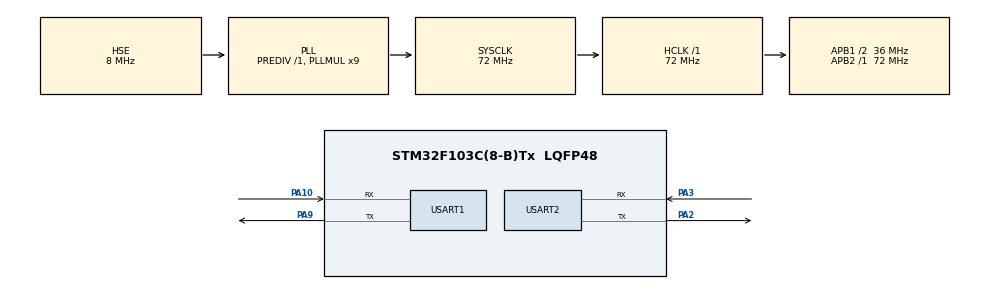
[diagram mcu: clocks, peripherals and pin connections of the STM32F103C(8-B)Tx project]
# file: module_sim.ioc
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Mcu.Family=STM32F1
Mcu.Name=STM32F103C(8-B)Tx
Mcu.Package=LQFP48
NVIC.PriorityGroup=NVIC_PRIORITYGROUP_4
NVIC.USART1_IRQn=true\:0\:0\:false\:false\:true\:true\:true\:true
NVIC.USART2_IRQn=true\:0\:0\:false\:false\:true\:true\:true\:true
PA10.Mode=Asynchronous
PA10.Signal=USART1_RX
PA13.Mode=Serial_Wire
PA13.Signal=SYS_JTMS-SWDIO
PA14.Mode=Serial_Wire
PA14.Signal=SYS_JTCK-SWCLK
PA2.Mode=Asynchronous
PA2.Signal=USART2_TX
PA3.Mode=Asynchronous
PA3.Signal=USART2_RX
PA9.Mode=Asynchronous
PA9.Signal=USART1_TX
PD0-OSC_IN.Mode=HSE-External-Oscillator
PD0-OSC_IN.Signal=RCC_OSC_IN
PD1-OSC_OUT.Mode=HSE-External-Oscillator
PD1-OSC_OUT.Signal=RCC_OSC_OUT
ProjectManager.HeapSize=0x200
ProjectManager.StackSize=0x400
ProjectManager.TargetToolchain=STM32CubeIDE
RCC.AHBFreq_Value=72000000
RCC.APB1CLKDivider=RCC_HCLK_DIV2
RCC.APB1Freq_Value=36000000
RCC.APB1TimFreq_Value=72000000
RCC.APB2Freq_Value=72000000
RCC.APB2TimFreq_Value=72000000
RCC.HCLKFreq_Value=72000000
RCC.PLLMUL=RCC_PLL_MUL9
RCC.PLLSourceVirtual=RCC_PLLSOURCE_HSE
RCC.SYSCLKFreq_VALUE=72000000
RCC.SYSCLKSource=RCC_SYSCLKSOURCE_PLLCLK
RCC.USBFreq_Value=72000000
USART1.VirtualMode=VM_ASYNC
USART2.VirtualMode=VM_ASYNC
board=custom

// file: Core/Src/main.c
/* USER CODE BEGIN Header */
/**
  ******************************************************************************
  * @file           : main.c
  * @brief          : Main program body - He thong SIM800L / SIM Module tren STM32
  *                   - Tu dong xoa sach bo nho SIM khi khoi dong (AT+CMGD=1,4)
  *                   - Tu dong gui tin nhan khi Run
  *                   - Tu dong doc va xoa tin nhan ngay sau khi nhan tin (+CMTI)
  *                   - Toc do Baud: 115200 bps cho ca PuTTY va SIM
  ******************************************************************************
  * @attention
  *
  * Copyright (c) 2026 STMicroelectronics.
  * All rights reserved.
  *
  * This software is licensed under terms that can be found in the LICENSE file
  * in the root directory of this software component.
  * If no LICENSE file comes with this software, it is provided AS-IS.
  *
  ******************************************************************************
  */
/* USER CODE END Header */
#include "main.h"
#include "usart.h"
#include "gpio.h"

/* USER CODE BEGIN Includes */
#include <stdio.h>
#include <string.h>
#include <stdlib.h>
/* USER CODE END Includes */

/* USER CODE BEGIN PV */
/* ==============================================================================
 * THÔNG SỐ CẤU HÌNH GỬI TIN NHẮN TỰ ĐỘNG KHI RUN
 * ============================================================================== */
#define SIM_PHONE_NUMBER    "0899244478"         /* <-- Số điện thoại người nhận */
#define SIM_SMS_MESSAGE     "dcm m minh"  /* <-- Nội dung tin nhắn không dấu */
/* ============================================================================== */

#define SIM_RX_BUFFER_SIZE  512
#define RX_BUFFER_LEN       256

/* Biến nhận 1 byte ngắt UART */
uint8_t rx_byte_pc;
uint8_t rx_byte_sim;

/* Bộ đệm chuỗi tổng quát để kiểm tra phản hồi AT */
uint8_t sim_rx_buffer[SIM_RX_BUFFER_SIZE];
volatile uint16_t sim_rx_idx = 0;

/* Bộ đệm nhận từng dòng để phân tích sự kiện +CMTI */
char rx_line_sim[RX_BUFFER_LEN];
volatile uint16_t rx_idx = 0;

/* Cờ báo hiệu có sự kiện tin nhắn mới từ ngắt đẩy ra vòng lặp while(1) */
volatile uint8_t flag_new_sms = 0;
volatile int target_sms_index = -1;
/* USER CODE END PV */

void SystemClock_Config(void);
/* USER CODE BEGIN PFP */
void PC_Print(const char *msg);
void PC_Println(const char *msg);
void SIM800_SendCmd(const char *cmd);
void SIM_ParseLine(char *line);
uint8_t SIM_Send_Command(const char *cmd, const char *expected_reply, uint32_t timeout_ms);
uint8_t SIM_Send_SMS_Core(const char *number, const char *msg);
uint8_t SIM_AutoSend_SMS(const char *number, const char *msg);
/* USER CODE END PFP */

/* USER CODE BEGIN 0 */
/**
  * @brief Gửi chuỗi lệnh UART sang Module SIM
  */
void SIM800_SendCmd(const char *cmd)
{
    HAL_UART_Transmit(&huart2, (uint8_t *)cmd, strlen(cmd), 1000);
}

/**
  * @brief Xử lý từng dòng phản hồi từ Module SIM để bắt sự kiện +CMTI
  */
void SIM_ParseLine(char *line)
{
    /* Bắt sự kiện: +CMTI: "SM", <index> hoặc +CMTI: "ME", <index> */
    char *cmti = strstr(line, "+CMTI:");
    if (cmti != NULL)
    {
        char *comma = strchr(cmti, ',');
        if (comma != NULL)
        {
            int idx = atoi(comma + 1);
            if (idx > 0)
            {
                target_sms_index = idx;
                flag_new_sms = 1; /* Bật cờ để vòng while(1) xử lý đọc & xóa */
            }
        }
    }
}
/* USER CODE END 0 */

int main(void)
{

  /* MCU Configuration--------------------------------------------------------*/

  /* Reset of all peripherals, Initializes the Flash interface and the Systick. */
  HAL_Init();

  /* Configure the system clock */
  SystemClock_Config();

  /* Initialize all configured peripherals */
  MX_GPIO_Init();
  MX_USART1_UART_Init();
  MX_USART2_UART_Init();
  /* USER CODE BEGIN 2 */
  /* Bật ngắt nhận byte đầu tiên cho cả 2 cổng UART */
  HAL_UART_Receive_IT(&huart1, &rx_byte_pc, 1);
  HAL_UART_Receive_IT(&huart2, &rx_byte_sim, 1);

  /* Thông báo khởi động lên màn hình PuTTY */
  PC_Println("\r\n=======================================================================");
  PC_Println("         STM32F103C8T6 - HE THONG SMS SIM800L (BAUDRATE: 115200)       ");
  PC_Println("=======================================================================");
  PC_Println("Dang khoi dong, vui long cho 3 giay de SIM on dinh nguon...");
  HAL_Delay(3000);

  /* 1. Kiểm tra kết nối SIM ở 115200 bps */
  PC_Print("[1/5] Kiem tra ket noi SIM (AT @ 115200 bps)... ");
  uint8_t at_ok = 0;
  for (int retry = 0; retry < 5; retry++)
  {
      if (SIM_Send_Command("AT\r\n", "OK", 1000))
      {
          at_ok = 1;
          break;
      }
      HAL_Delay(500);
  }
  if (!at_ok)
  {
      PC_Println("THAT BAI! (Module SIM khong phan hoi AT)");
  }
  else
  {
      PC_Println("OK!");
  }

  /* 2. Cấu hình cơ bản: Tắt echo, bật báo lỗi chi tiết, bật Text Mode, bảng mã GSM */
  PC_Print("[2/5] Cau hinh Text Mode & Parameters... ");
  SIM_Send_Command("ATE0\r\n", "OK", 1000);
  SIM_Send_Command("AT+CMEE=1\r\n", "OK", 1000);
  SIM_Send_Command("AT+CMGF=1\r\n", "OK", 1000);
  SIM_Send_Command("AT+CSCS=\"GSM\"\r\n", "OK", 1000);
  PC_Println("OK!");

  /* 3. DỌN SẠCH TOÀN BỘ KHAY CHỨA TIN NHẮN TRÊN SIM (CHỐNG TRÀN BỘ NHỚ +SMS FULL) */
  PC_Print("[3/5] Don sach toan bo tin nhan cu (AT+CMGD=1,4)... ");
  SIM_Send_Command("AT+CMGD=1,4\r\n", "OK", 3000);
  PC_Println("DA XOA SACH! (Bo nho SIM da duoc giai phong hoan toan)");

  /* 4. Kiểm tra SIM & Trạng thái vào mạng */
  PC_Println("[4/5] Kiem tra the SIM & Mang di dong:");
  PC_Print("   - The SIM (AT+CPIN?)... ");
  if (SIM_Send_Command("AT+CPIN?\r\n", "READY", 3000))
  {
      PC_Println("READY!");
  }
  else
  {
      PC_Println("CHUA SAN SANG!");
  }

  PC_Print("   - Song mang (AT+CREG?)... ");
  uint8_t net_ok = 0;
  for (int i = 0; i < 15; i++)
  {
      sim_rx_idx = 0;
      memset((void *)sim_rx_buffer, 0, SIM_RX_BUFFER_SIZE);
      HAL_UART_Transmit(&huart2, (uint8_t *)"AT+CREG?\r\n", 10, 1000);
      HAL_Delay(1000);
      if (strstr((char *)sim_rx_buffer, ",1") != NULL || strstr((char *)sim_rx_buffer, ",5") != NULL)
      {
          net_ok = 1;
          break;
      }
  }
  if (net_ok)
  {
      PC_Println("DA VAO MANG!");
  }
  else
  {
      PC_Println("CHUA VAO MANG!");
  }

  /* 5. TỰ ĐỘNG GỬI TIN NHẮN KHỞI ĐỘNG */
  PC_Println("[5/5] Tien hanh gui tin nhan khoi dong:");
  SIM_AutoSend_SMS(SIM_PHONE_NUMBER, SIM_SMS_MESSAGE);

  PC_Println("\r\n-----------------------------------------------------------------------");
  PC_Println("  HE THONG DA SAN SANG: DANG LANG NGHE TIN NHAN DEN (TU DONG DOC & XOA)");
  PC_Println("  Ban co the go lenh AT truc tiep tren PuTTY bat ky luc nao.");
  PC_Println("-----------------------------------------------------------------------\r\n");
  /* USER CODE END 2 */

  /* Infinite loop */
  while (1)
  {

    /* USER CODE BEGIN 3 */
    /* =========================================================================
     * LUỒNG SỰ KIỆN: TỰ ĐỘNG ĐỌC VÀ XÓA NGAY KHI CÓ TIN NHẮN TỚI
     * ========================================================================= */
    if (flag_new_sms && target_sms_index > 0)
    {
        int idx = target_sms_index;
        char cmd_buf[64];

        PC_Println("\r\n=======================================================");
        snprintf(cmd_buf, sizeof(cmd_buf), ">>> PHAT HIEN TIN NHAN MOI O O NHO: %d <<<", idx);
        PC_Println(cmd_buf);
        PC_Println("=======================================================");

        /* 1. Gửi lệnh đọc nội dung tin nhắn */
        PC_Println("-> Dang doc noi dung tin nhan (AT+CMGR):");
        snprintf(cmd_buf, sizeof(cmd_buf), "AT+CMGR=%d\r\n", idx);
        SIM800_SendCmd(cmd_buf);
        HAL_Delay(1000); /* Đợi module trả nội dung tin nhắn về và in lên PuTTY */

        /* 2. Gửi lệnh xóa ngay ô nhớ vừa đọc để giải phóng bộ nhớ */
        PC_Println("\r\n-> Dang xoa tin nhan de giai phong bo nho (AT+CMGD)...");
        snprintf(cmd_buf, sizeof(cmd_buf), "AT+CMGD=%d\r\n", idx);
        SIM800_SendCmd(cmd_buf);
        HAL_Delay(500);

        PC_Println("-> XAC NHAN: Da xoa o nho, khay SIM luon trong (0 tin nhan).");
        PC_Println("=======================================================\r\n");

        /* Reset cờ trạng thái */
        flag_new_sms = 0;
        target_sms_index = -1;
    }

    HAL_Delay(50);
  }
  /* USER CODE END 3 */
}

void SystemClock_Config(void)
{
  RCC_OscInitTypeDef RCC_OscInitStruct = {0};
  RCC_ClkInitTypeDef RCC_ClkInitStruct = {0};

  /** Initializes the RCC Oscillators according to the specified parameters
  * in the RCC_OscInitTypeDef structure.
  */
  RCC_OscInitStruct.OscillatorType = RCC_OSCILLATORTYPE_HSE;
  RCC_OscInitStruct.HSEState = RCC_HSE_ON;
  RCC_OscInitStruct.HSEPredivValue = RCC_HSE_PREDIV_DIV1;
  RCC_OscInitStruct.HSIState = RCC_HSI_ON;
  RCC_OscInitStruct.PLL.PLLState = RCC_PLL_ON;
  RCC_OscInitStruct.PLL.PLLSource = RCC_PLLSOURCE_HSE;
  RCC_OscInitStruct.PLL.PLLMUL = RCC_PLL_MUL9;
  if (HAL_RCC_OscConfig(&RCC_OscInitStruct) != HAL_OK)
  {
    Error_Handler();
  }

  /** Initializes the CPU, AHB and APB buses clocks
  */
  RCC_ClkInitStruct.ClockType = RCC_CLOCKTYPE_HCLK|RCC_CLOCKTYPE_SYSCLK
                              |RCC_CLOCKTYPE_PCLK1|RCC_CLOCKTYPE_PCLK2;
  RCC_ClkInitStruct.SYSCLKSource = RCC_SYSCLKSOURCE_PLLCLK;
  RCC_ClkInitStruct.AHBCLKDivider = RCC_SYSCLK_DIV1;
  RCC_ClkInitStruct.APB1CLKDivider = RCC_HCLK_DIV2;
  RCC_ClkInitStruct.APB2CLKDivider = RCC_HCLK_DIV1;

  if (HAL_RCC_ClockConfig(&RCC_ClkInitStruct, FLASH_LATENCY_2) != HAL_OK)
  {
    Error_Handler();
  }
}

/* USER CODE BEGIN 4 */
/**
  * @brief In chuỗi thông báo lên máy tính qua USART1
  */
void PC_Print(const char *msg)
{
    HAL_UART_Transmit(&huart1, (uint8_t *)msg, strlen(msg), 1000);
}

/**
  * @brief In chuỗi thông báo kèm xuống dòng lên máy tính qua USART1
  */
void PC_Println(const char *msg)
{
    HAL_UART_Transmit(&huart1, (uint8_t *)msg, strlen(msg), 1000);
    HAL_UART_Transmit(&huart1, (uint8_t *)"\r\n", 2, 1000);
}

/**
  * @brief Gửi lệnh AT xuống module SIM và chờ phản hồi mong đợi
  */
uint8_t SIM_Send_Command(const char *cmd, const char *expected_reply, uint32_t timeout_ms)
{
    sim_rx_idx = 0;
    memset((void *)sim_rx_buffer, 0, SIM_RX_BUFFER_SIZE);

    HAL_UART_Transmit(&huart2, (uint8_t *)cmd, strlen(cmd), 1000);

    uint32_t tickstart = HAL_GetTick();
    while ((HAL_GetTick() - tickstart) < timeout_ms)
    {
        if (strstr((char *)sim_rx_buffer, expected_reply) != NULL)
        {
            return 1;
        }
        if (strstr((char *)sim_rx_buffer, "ERROR") != NULL)
        {
            return 0;
        }
        HAL_Delay(10);
    }
    return 0;
}

/**
  * @brief Thực hiện 4 bước gửi tin nhắn SMS tới 1 số điện thoại cụ thể
  */
uint8_t SIM_Send_SMS_Core(const char *number, const char *msg)
{
    char cmd[64];

    /* 1. Đảm bảo ở chế độ Text Mode */
    if (!SIM_Send_Command("AT+CMGF=1\r\n", "OK", 2000))
    {
        PC_Println("   -> [Loi] Khong the bat Text Mode!");
        return 0;
    }

    /* 2. Cấu hình bảng mã ký tự GSM */
    SIM_Send_Command("AT+CSCS=\"GSM\"\r\n", "OK", 2000);

    /* 3. Phát lệnh gửi tới số điện thoại, kết thúc bằng \r */
    snprintf(cmd, sizeof(cmd), "AT+CMGS=\"%s\"\r", number);
    PC_Print("   -> Dang ket noi toi so: ");
    PC_Println(number);

    sim_rx_idx = 0;
    memset((void *)sim_rx_buffer, 0, SIM_RX_BUFFER_SIZE);
    HAL_UART_Transmit(&huart2, (uint8_t *)cmd, strlen(cmd), 1000);

    /* Chờ ký tự prompt '>' từ module SIM */
    uint32_t t_prompt = HAL_GetTick();
    uint8_t got_prompt = 0;
    while ((HAL_GetTick() - t_prompt) < 5000)
    {
        if (strchr((char *)sim_rx_buffer, '>') != NULL)
        {
            got_prompt = 1;
            break;
        }
        if (strstr((char *)sim_rx_buffer, "ERROR") != NULL)
        {
            break;
        }
        HAL_Delay(10);
    }

    if (!got_prompt)
    {
        PC_Println("   -> [Loi] Module SIM khong xuat hien dau nhac '>' !");
        PC_Print("   -> [Phan hoi SIM]: ");
        PC_Println((char *)sim_rx_buffer);
        return 0;
    }

    PC_Println("   -> Da nhan duoc dau nhac '>', cho module on dinh 300ms...");
    HAL_Delay(300);

    /* 4. Gửi nội dung tin nhắn và kết thúc bằng phím Ctrl+Z (0x1A) */
    PC_Print("   -> Noi dung tin nhan: \"");
    PC_Print(msg);
    PC_Println("\"");

    sim_rx_idx = 0;
    memset((void *)sim_rx_buffer, 0, SIM_RX_BUFFER_SIZE);

    /* Truyền nội dung tin nhắn */
    HAL_UART_Transmit(&huart2, (uint8_t *)msg, strlen(msg), 3000);
    HAL_Delay(200);

    /* Truyền ký tự kết thúc Ctrl+Z (0x1A) */
    uint8_t ctrl_z = 0x1A;
    HAL_UART_Transmit(&huart2, &ctrl_z, 1, 1000);

    PC_Println("   -> Da phat lenh Ctrl+Z (0x1A)!");
    PC_Println("   -> Dang cho nha mang phan hoi +CMGS va OK (thoi gian cho toi da 60s)...");

    /* Chờ bắt tín hiệu +CMGS: và OK từ nhà mạng */
    uint32_t t_start = HAL_GetTick();
    uint8_t got_cmgs = 0;
    uint8_t got_ok = 0;
    uint8_t got_error = 0;

    while ((HAL_GetTick() - t_start) < 60000)
    {
        if (strstr((char *)sim_rx_buffer, "+CMGS:") != NULL)
        {
            got_cmgs = 1;
        }

        if (got_cmgs && (strstr((char *)sim_rx_buffer, "OK") != NULL))
        {
            got_ok = 1;
            break;
        }

        if (strstr((char *)sim_rx_buffer, "ERROR") != NULL)
        {
            HAL_Delay(500);
            got_error = 1;
            break;
        }

        HAL_Delay(50);
    }

    if (got_cmgs || got_ok)
    {
        PC_Println("\r\n=======================================================================");
        PC_Println("            >>> XAC NHAN: GUI TIN NHAN SMS THANH CONG! <<<             ");
        PC_Println("=======================================================================");
        PC_Print("Phan hoi tu Module SIM: ");
        PC_Println((char *)sim_rx_buffer);
        return 1;
    }
    else
    {
        PC_Println("\r\n=======================================================================");
        PC_Println("                 >>> GUI TIN NHAN THAT BAI! <<<                        ");
        PC_Println("=======================================================================");
        PC_Print("Chi tiet phan hoi tu Module SIM:\r\n");
        PC_Println((char *)sim_rx_buffer);

        if (strstr((char *)sim_rx_buffer, "302") != NULL || strstr((char *)sim_rx_buffer, "304") != NULL)
        {
            PC_Println("[THONG BAO LOI]: +CMS ERROR: 302/304: The SIM het tien hoac tram mang tu choi gui.");
        }
        else if (strstr((char *)sim_rx_buffer, "305") != NULL)
        {
            PC_Println("[THONG BAO LOI]: +CMS ERROR: 305: Module chua o che do Text Mode (AT+CMGF=1).");
        }
        else if (strstr((char *)sim_rx_buffer, "500") != NULL)
        {
            PC_Println("[THONG BAO LOI]: +CMS ERROR: 500: Loi mang hoac module bi sut ap khi phat song.");
        }
        else if (got_error)
        {
            PC_Println("[THONG BAO LOI]: Module SIM tra ve ERROR.");
        }
        else
        {
            PC_Println("[THONG BAO LOI]: Het thoi gian cho (Timeout 60s) khong nhan duoc tin hieu +CMGS va OK tu mang.");
        }
        return 0;
    }
}

/**
  * @brief Tự động kiểm tra hệ thống và gửi tin nhắn SMS
  */
uint8_t SIM_AutoSend_SMS(const char *number, const char *msg)
{
    uint8_t res = SIM_Send_SMS_Core(number, msg);

    /* Nếu gửi với định dạng 09... thất bại, tự động thử lại với định dạng quốc tế +84... */
    if (!res && number[0] == '0')
    {
        char intl_number[32];
        snprintf(intl_number, sizeof(intl_number), "+84%s", number + 1);
        PC_Println("\r\n-> Tu dong thu lai voi dinh dang so quoc te (+84):");
        res = SIM_Send_SMS_Core(intl_number, msg);
    }

    return res;
}

/**
  * @brief Callback nhận ngắt 1 byte theo chuẩn HAL
  */
void HAL_UART_RxCpltCallback(UART_HandleTypeDef *huart)
{
    /* Dữ liệu hoặc phản hồi từ Module SIM trả về */
    if (huart->Instance == USART2)
    {
        /* 1. Lưu vào buffer tổng quát để SIM_Send_Command kiểm tra */
        if (sim_rx_idx < SIM_RX_BUFFER_SIZE - 1)
        {
            sim_rx_buffer[sim_rx_idx++] = (uint8_t)rx_byte_sim;
            sim_rx_buffer[sim_rx_idx] = '\0';
        }

        /* 2. Gom dòng để bắt sự kiện +CMTI: "SM", <index> */
        if (rx_byte_sim == '\n')
        {
            rx_line_sim[rx_idx] = '\0';
            if (rx_idx > 0)
            {
                SIM_ParseLine(rx_line_sim);
            }
            rx_idx = 0;
        }
        else if (rx_byte_sim != '\r')
        {
            if (rx_idx < RX_BUFFER_LEN - 1)
            {
                rx_line_sim[rx_idx++] = (char)rx_byte_sim;
            }
            else
            {
                rx_idx = 0; /* Tránh tràn bộ đệm dòng */
            }
        }

        /* 3. Đẩy tức thì lên màn hình PuTTY qua USART1 bằng thanh ghi trực tiếp */
        while (!(USART1->SR & USART_SR_TXE));
        USART1->DR = rx_byte_sim;

        /* Mồi lại ngắt để đón byte tiếp theo từ SIM */
        HAL_UART_Receive_IT(&huart2, &rx_byte_sim, 1);
    }
    /* Ký tự người dùng gõ từ bàn phím PuTTY -> Chuyển tiếp sang Module SIM */
    else if (huart->Instance == USART1)
    {
        while (!(USART2->SR & USART_SR_TXE));
        USART2->DR = rx_byte_pc;

        /* Mồi lại ngắt để đón byte tiếp theo từ PuTTY */
        HAL_UART_Receive_IT(&huart1, &rx_byte_pc, 1);
    }
}

/**
  * @brief Xử lý lỗi Overrun Error (ORE) tránh treo cờ UART
  */
void HAL_UART_ErrorCallback(UART_HandleTypeDef *huart)
{
    if (huart->Instance == USART1)
    {
        __HAL_UART_CLEAR_OREFLAG(huart);
        HAL_UART_Receive_IT(&huart1, &rx_byte_pc, 1);
    }
    else if (huart->Instance == USART2)
    {
        __HAL_UART_CLEAR_OREFLAG(huart);
        HAL_UART_Receive_IT(&huart2, &rx_byte_sim, 1);
    }
}
/* USER CODE END 4 */

void Error_Handler(void)
{
  __disable_irq();
  while (1)
  {
  }
}
